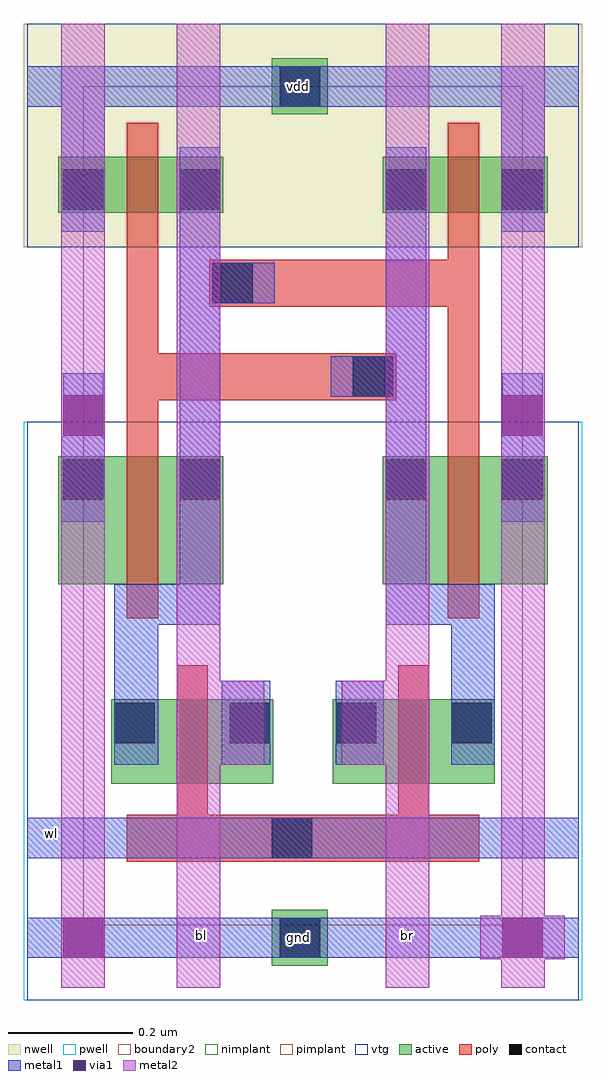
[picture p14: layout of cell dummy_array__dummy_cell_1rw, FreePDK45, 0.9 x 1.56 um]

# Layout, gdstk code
import gdstk
lib = gdstk.Library(unit=1e-6, precision=1e-09)
def R(c, l, rs):  # rectangles x0, y0, x1, y1
    for r in rs: c.add(gdstk.rectangle(r[:2], r[2:], *l))
active = (1, 0)
pwell = (2, 0)
nwell = (3, 0)
nimplant = (4, 0)
pimplant = (5, 0)
vtg = (6, 0)
poly = (9, 0)
contact = (10, 0)
metal1 = (11, 0)
via1 = (12, 0)
metal2 = (13, 0)
boundary2 = (239, 0)

dummy_array__dummy_cell_ = lib.new_cell('dummy_array__dummy_cell_1rw')
R(dummy_array__dummy_cell_, active, [(0.302,-0.045,0.392,0.045), (0.302,-0.045,0.392,0.045), (0.045,0.247,0.305,0.382), (0.045,0.247,0.12,0.382), (0.045,0.247,0.12,0.382), (0.23,0.247,0.305,0.382), (0.23,0.247,0.305,0.382), (0.4,0.247,0.66,0.382), (0.4,0.247,0.475,0.382), (0.4,0.247,0.475,0.382), (0.585,0.247,0.66,0.382), (0.585,0.247,0.66,0.382), (0.045,0.307,0.12,0.382), (0.23,0.307,0.305,0.382), (0.4,0.307,0.475,0.382), (0.585,0.307,0.66,0.382), (-0.04,0.567,0.04,0.772), (-0.035,0.567,0.225,0.772), (-0.035,0.567,0.04,0.772), (0.15,0.567,0.225,0.772), (0.15,0.567,0.225,0.772), (0.48,0.567,0.74,0.772), (0.48,0.567,0.555,0.772), (0.48,0.567,0.555,0.772), (0.665,0.567,0.74,0.772), (0.665,0.567,0.745,0.772), (-0.035,0.697,0.04,0.772), (0.15,0.697,0.225,0.772), (0.48,0.697,0.555,0.772), (0.665,0.697,0.74,0.772), (-0.04,1.162,0.04,1.252), (-0.035,1.162,0.04,1.237), (-0.035,1.162,0.225,1.252), (-0.035,1.162,0.04,1.252), (0.15,1.162,0.225,1.237), (0.15,1.162,0.225,1.252), (0.15,1.162,0.225,1.252), (0.48,1.162,0.555,1.237), (0.48,1.162,0.74,1.252), (0.48,1.162,0.555,1.252), (0.48,1.162,0.555,1.252), (0.665,1.162,0.74,1.237), (0.665,1.162,0.74,1.252), (0.665,1.162,0.745,1.252), (0.302,1.32,0.392,1.41), (0.302,1.32,0.392,1.41)])
R(dummy_array__dummy_cell_, pwell, [(-0.095,-0.1,0.8,0.827), (0.247,-0.1,0.447,0.1), (0.247,-0.08,0.447,0.12), (-0.01,0.192,0.36,0.437), (0.345,0.192,0.715,0.437), (-0.09,0.512,0.28,0.827), (0.425,0.512,0.795,0.827)])
R(dummy_array__dummy_cell_, nwell, [(-0.095,1.107,0.8,1.465), (-0.09,1.107,0.28,1.307), (0.425,1.107,0.795,1.307), (0.247,1.265,0.447,1.465), (0.247,1.265,0.447,1.465)])
R(dummy_array__dummy_cell_, nimplant, [(0.045,0.247,0.305,0.382), (0.4,0.247,0.66,0.382), (-0.035,0.567,0.225,0.772), (0.48,0.567,0.74,0.772), (0.302,1.32,0.392,1.41), (0.302,1.32,0.392,1.41)])
R(dummy_array__dummy_cell_, pimplant, [(0.302,-0.045,0.392,0.045), (-0.035,1.162,0.225,1.252), (0.48,1.162,0.74,1.252)])
R(dummy_array__dummy_cell_, vtg, [(-0.09,-0.1,0.795,0.827), (-0.01,0.192,0.36,0.437), (0.345,0.192,0.715,0.437), (-0.09,0.512,0.28,0.827), (0.425,0.512,0.795,0.827), (-0.09,1.107,0.28,1.307), (-0.09,1.107,0.795,1.465), (0.425,1.107,0.795,1.307)])
R(dummy_array__dummy_cell_, poly, [(0.07,0.122,0.635,0.197), (0.297,0.122,0.372,0.197), (0.15,0.192,0.2,0.247), (0.15,0.192,0.2,0.437), (0.505,0.192,0.555,0.247), (0.505,0.192,0.555,0.437), (0.15,0.382,0.2,0.437), (0.505,0.382,0.555,0.437), (0.07,0.512,0.12,0.567), (0.07,0.512,0.12,0.827), (0.585,0.512,0.635,0.567), (0.585,0.512,0.635,0.827), (0.07,0.772,0.12,0.827), (0.585,0.772,0.635,0.827), (0.07,0.827,0.12,1.107), (0.07,0.827,0.12,1.107), (0.585,0.827,0.635,1.107), (0.585,0.827,0.635,1.107), (0.07,0.862,0.502,0.937), (0.427,0.862,0.502,0.937), (0.427,0.862,0.502,0.937), (0.202,1.012,0.277,1.087), (0.202,1.012,0.277,1.087), (0.202,1.012,0.635,1.087), (0.07,1.107,0.12,1.162), (0.07,1.107,0.12,1.307), (0.585,1.107,0.635,1.162), (0.585,1.107,0.635,1.307), (0.07,1.252,0.12,1.307), (0.585,1.252,0.635,1.307)])
R(dummy_array__dummy_cell_, contact, [(0.315,-0.032,0.38,0.032), (0.302,0.127,0.367,0.192), (0.05,0.312,0.115,0.377), (0.235,0.312,0.3,0.377), (0.405,0.312,0.47,0.377), (0.59,0.312,0.655,0.377), (-0.032,0.702,0.032,0.767), (0.155,0.702,0.22,0.767), (0.485,0.702,0.55,0.767), (0.672,0.702,0.737,0.767), (0.432,0.867,0.497,0.932), (0.432,0.867,0.497,0.932), (0.207,1.017,0.272,1.082), (0.207,1.017,0.272,1.082), (-0.032,1.167,0.032,1.232), (0.155,1.167,0.22,1.232), (0.485,1.167,0.55,1.232), (0.672,1.167,0.737,1.232), (0.315,1.332,0.38,1.397)])
R(dummy_array__dummy_cell_, metal1, [(-0.09,-0.032,0.795,0.032), (0.285,-0.032,0.42,0.032), (0.285,-0.032,0.42,0.032), (0.637,-0.032,0.772,0.032), (0.637,-0.032,0.772,0.032), (0.637,-0.032,0.772,0.032), (0.637,-0.032,0.772,0.032), (-0.09,0.127,0.795,0.192), (0.267,0.127,0.402,0.192), (-0.085,0.13,-0.032,0.192), (0.62,0.13,0.672,0.192), (0.05,0.277,0.115,0.412), (0.05,0.277,0.12,0.567), (0.222,0.277,0.287,0.412), (0.235,0.277,0.3,0.412), (0.405,0.277,0.47,0.412), (0.417,0.277,0.482,0.412), (0.59,0.277,0.655,0.412), (0.59,0.277,0.66,0.567), (0.05,0.502,0.22,0.567), (0.155,0.502,0.22,1.242), (0.485,0.502,0.66,0.567), (0.485,0.502,0.55,1.132), (-0.035,0.667,0.035,0.802), (-0.035,0.667,0.035,0.802), (-0.03,0.667,0.035,0.802), (0.155,0.667,0.22,0.802), (0.485,0.667,0.55,0.802), (0.67,0.667,0.735,0.802), (0.67,0.667,0.74,0.802), (0.67,0.667,0.74,0.802), (0.67,0.667,0.74,0.802), (0.67,0.667,0.74,0.802), (0.67,0.667,0.74,0.802), (0.67,0.667,0.74,0.802), (-0.032,0.77,0.032,0.905), (-0.032,0.77,0.032,0.905), (-0.032,0.77,0.032,0.905), (-0.032,0.77,0.032,0.905), (-0.032,0.77,0.032,0.905), (-0.032,0.77,0.032,0.905), (0.672,0.77,0.737,0.905), (0.672,0.77,0.737,0.905), (0.672,0.77,0.737,0.905), (0.672,0.77,0.737,0.905), (0.672,0.77,0.737,0.905), (0.672,0.77,0.737,0.905), (0.672,0.77,0.737,0.905), (0.672,0.77,0.737,0.905), (0.672,0.77,0.737,0.905), (0.672,0.77,0.737,0.905), (0.672,0.77,0.737,0.905), (0.672,0.77,0.737,0.905), (0.672,0.77,0.737,0.905), (0.672,0.77,0.737,0.905), (0.672,0.77,0.737,0.905), (0.672,0.77,0.737,0.905), (0.672,0.77,0.737,0.905), (0.672,0.77,0.737,0.905), (0.672,0.77,0.737,0.905), (0.672,0.77,0.737,0.905), (0.672,0.77,0.737,0.905), (0.672,0.77,0.737,0.905), (0.672,0.77,0.737,0.905), (0.672,0.77,0.737,0.905), (0.397,0.867,0.532,0.932), (0.397,0.867,0.532,0.932), (0.172,1.017,0.307,1.082), (0.172,1.017,0.307,1.082), (-0.035,1.132,0.035,1.332), (-0.03,1.132,0.035,1.267), (0.155,1.132,0.22,1.267), (0.485,1.132,0.55,1.267), (0.67,1.132,0.735,1.267), (0.67,1.132,0.74,1.332), (0.67,1.132,0.74,1.332), (-0.09,1.332,0.795,1.397)])
R(dummy_array__dummy_cell_, via1, [(-0.032,-0.032,0.032,0.032), (-0.032,-0.032,0.032,0.032), (0.672,-0.032,0.737,0.032), (0.672,-0.032,0.737,0.032), (0.672,-0.032,0.737,0.032), (0.672,-0.032,0.737,0.032), (-0.032,0.805,0.032,0.87), (-0.032,0.805,0.032,0.87), (-0.032,0.805,0.032,0.87), (-0.032,0.805,0.032,0.87), (-0.032,0.805,0.032,0.87), (-0.032,0.805,0.032,0.87), (0.672,0.805,0.737,0.87), (0.672,0.805,0.737,0.87), (0.672,0.805,0.737,0.87), (0.672,0.805,0.737,0.87), (0.672,0.805,0.737,0.87), (0.672,0.805,0.737,0.87), (0.672,0.805,0.737,0.87), (0.672,0.805,0.737,0.87), (0.672,0.805,0.737,0.87), (0.672,0.805,0.737,0.87), (0.672,0.805,0.737,0.87), (0.672,0.805,0.737,0.87), (0.672,0.805,0.737,0.87), (0.672,0.805,0.737,0.87), (0.672,0.805,0.737,0.87), (0.672,0.805,0.737,0.87), (0.672,0.805,0.737,0.87), (0.672,0.805,0.737,0.87), (0.672,0.805,0.737,0.87), (0.672,0.805,0.737,0.87), (0.672,0.805,0.737,0.87), (0.672,0.805,0.737,0.87), (0.672,0.805,0.737,0.87), (0.672,0.805,0.737,0.87)])
R(dummy_array__dummy_cell_, metal2, [(-0.035,-0.08,0.035,1.465), (0.15,-0.08,0.22,1.465), (0.485,-0.08,0.555,1.465), (0.67,-0.08,0.74,1.465), (0.637,-0.035,0.772,0.035), (0.637,-0.035,0.772,0.035), (0.637,-0.035,0.772,0.035), (0.637,-0.035,0.772,0.035), (0.492,-0.032,0.55,0.027), (-0.03,-0.03,0.03,0.027), (0.157,-0.025,0.212,0.027), (0.675,-0.025,0.735,0.032), (0.67,-0.012,0.74,1.397), (0.22,0.277,0.29,0.412), (0.415,0.277,0.485,0.412), (-0.035,0.77,0.035,0.905), (-0.035,0.77,0.035,0.905), (-0.035,0.77,0.035,0.905), (-0.035,0.77,0.035,0.905), (-0.035,0.77,0.035,0.905), (-0.035,0.77,0.035,0.905), (0.67,0.77,0.74,0.905), (0.67,0.77,0.74,0.905), (0.67,0.77,0.74,0.905), (0.67,0.77,0.74,0.905), (0.67,0.77,0.74,0.905), (0.67,0.77,0.74,0.905), (0.67,0.77,0.74,0.905), (0.67,0.77,0.74,0.905), (0.67,0.77,0.74,0.905), (0.67,0.77,0.74,0.905), (0.67,0.77,0.74,0.905), (0.67,0.77,0.74,0.905), (0.67,0.77,0.74,0.905), (0.67,0.77,0.74,0.905), (0.67,0.77,0.74,0.905), (0.67,0.77,0.74,0.905), (0.67,0.77,0.74,0.905), (0.67,0.77,0.74,0.905), (0.67,0.77,0.74,0.905), (0.67,0.77,0.74,0.905), (0.67,0.77,0.74,0.905), (0.67,0.77,0.74,0.905), (0.67,0.77,0.74,0.905), (0.67,0.77,0.74,0.905)])
R(dummy_array__dummy_cell_, boundary2, [(0,0.02,0.705,1.365)])
dummy_array__dummy_cell_.add(gdstk.Label('gnd', (0.345,0), layer=11, texttype=0))
dummy_array__dummy_cell_.add(gdstk.Label('vdd', (0.345,1.365), layer=11, texttype=0))
dummy_array__dummy_cell_.add(gdstk.Label('wl', (-0.05,0.167), layer=11, texttype=0))
dummy_array__dummy_cell_.add(gdstk.Label('br', (0.52,0.003), layer=13, texttype=0))
dummy_array__dummy_cell_.add(gdstk.Label('bl', (0.19,0.003), layer=13, texttype=0))

lib.write_gds('dummy_array__dummy_cell_1rw.gds')
